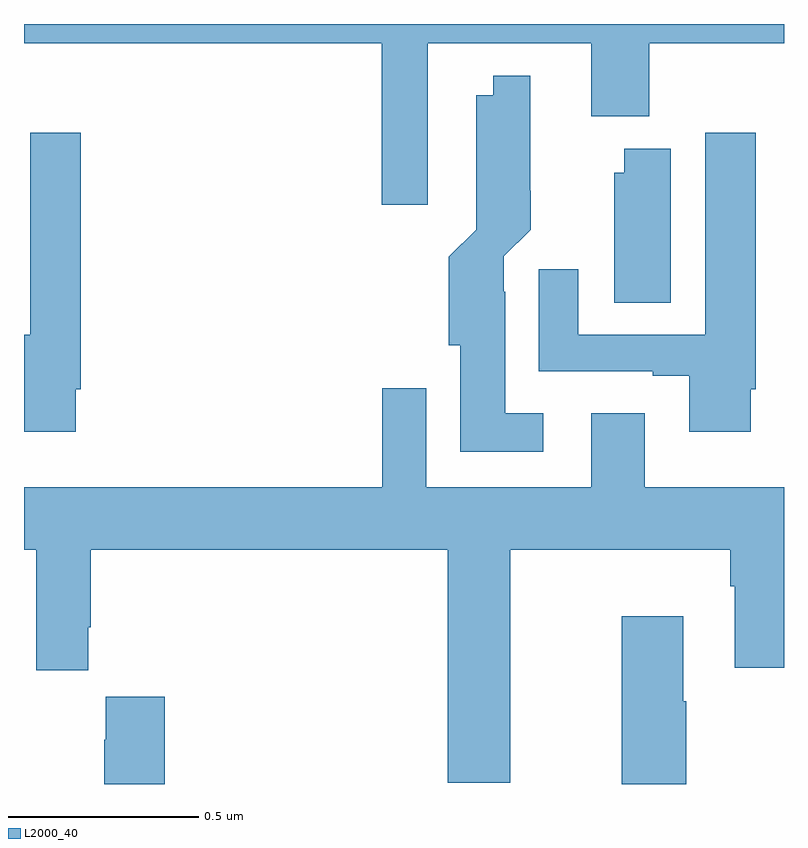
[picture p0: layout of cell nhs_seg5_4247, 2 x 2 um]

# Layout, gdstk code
import gdstk
lib = gdstk.Library(unit=1e-6, precision=1e-09)
def P(c, l, *ps):  # polygons
    for p in ps: c.add(gdstk.Polygon(p, *l))
L2000_40 = (2000, 40)

nhs_seg5_4247 = lib.new_cell('nhs_seg5_4247')
P(nhs_seg5_4247, L2000_40, [(169.063,868.748),(169.493,868.748),(169.493,868.556),(169.646,868.556),(169.646,868.748),(170,868.748),(170,868.799),(168,868.799),(168,868.748),(168.941,868.748),(168.941,868.323),(169.063,868.323)],
  [(169.366,867.775),(169.267,867.775),(169.267,868.094),(169.263,868.094),(169.263,868.188),(169.333,868.258),(169.333,868.36),(169.332,868.36),(169.332,868.663),(169.235,868.663),(169.235,868.612),(169.19,868.612),(169.19,868.258),(169.118,868.186),(169.118,867.954),(169.148,867.954),(169.148,867.674),(169.366,867.674)],
  [(168.136,867.838),(168.149,867.838),(168.149,868.513),(168.017,868.513),(168.017,867.981),(168,867.981),(168,867.726),(168.136,867.726)],
  [(169.912,867.838),(169.925,867.838),(169.925,868.513),(169.793,868.513),(169.793,867.981),(169.459,867.981),(169.459,868.153),(169.355,868.153),(169.355,867.885),(169.655,867.885),(169.655,867.873),(169.751,867.873),(169.751,867.726),(169.912,867.726)],
  [(169.702,868.471),(169.58,868.471),(169.58,868.407),(169.553,868.407),(169.553,868.066),(169.702,868.066)],
  [(169.279,867.416),(169.859,867.416),(169.859,867.32),(169.871,867.32),(169.871,867.105),(170,867.105),(170,867.58),(169.633,867.58),(169.633,867.775),(169.493,867.775),(169.493,867.58),(169.059,867.58),(169.059,867.841),(168.943,867.841),(168.943,867.58),(168,867.58),(168,867.416),(168.032,867.416),(168.032,867.099),(168.169,867.099),(168.169,867.211),(168.176,867.211),(168.176,867.416),(169.115,867.416),(169.115,866.802),(169.279,866.802)],
  [(169.743,867.017),(169.735,867.017),(169.735,867.241),(169.573,867.241),(169.573,866.799),(169.743,866.799)],
  [(168.371,867.028),(168.215,867.028),(168.215,866.915),(168.211,866.915),(168.211,866.799),(168.371,866.799)])

lib.write_gds('nhs_seg5_4247.gds')
